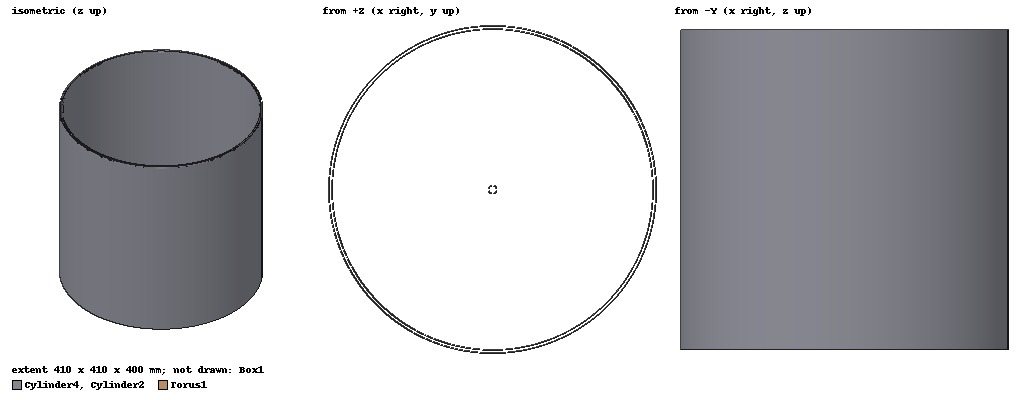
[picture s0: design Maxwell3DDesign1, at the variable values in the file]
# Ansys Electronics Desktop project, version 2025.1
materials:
  vacuum: permittivity=1
  ferrite: permittivity=12 permeability=1000 conductivity=0.01
  copper: permeability=0.999991 conductivity=58000000

design Maxwell3DDesign1 (Maxwell 3D, Magnetostatic, model units mm)
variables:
  t = 1mm
  a = 1mm
  b = 0mm
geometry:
  Cylinder1 = cylinder(axis=Z, base_centre=(0mm, 0mm, -200mm), radius=200mm, height=400mm)
  Cylinder2 [ferrite] = cylinder(axis=Z, base_centre=(0mm, 0mm, -200mm), radius=200mm+t, height=400mm)
  Cylinder2.subtract(Cylinder1)
  Cylinder3 = cylinder(axis=Z, base_centre=(0mm, 0mm, -200mm), radius=205mm-t, height=400mm)
  Cylinder4 [ferrite] = cylinder(axis=Z, base_centre=(0mm, 0mm, -200mm), radius=205mm, height=400mm)
  Cylinder4.subtract(Cylinder3)
  Torus1 [copper] = torus(axis=Z, centre=(0mm, 0mm, 0mm), major_radius=5mm, minor_radius=0.5mm)
  Torus1_Section1 [copper] = Torus1.section(plane=YZ)
  Torus1_Section1.separate_bodies()
  Box1 [vacuum] = box(corner=(-400mm, -400mm, -400mm), size=(800mm, 800mm, 800mm))
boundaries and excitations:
  Current2: Current Objects=Torus1_Section1 Current=1mA IsSolid=true Point_out_of_terminal=false
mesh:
  initial mesh: GlobalCurvilinear{Apply}
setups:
  Setup1: Magnetostatic MaximumPasses=100 MinimumPasses=2 MinimumConvergedPasses=1 PercentRefinement=30 PercentError=1 NonLinearResidual=0.001
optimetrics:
  ParametricSetup1: Parametric Sim._Setups=[Setup1]
    sweep t: LIN 0.5mm 1.5mm 0.1mm
    calculate IntH2_total on Setup1 : LastAdaptive
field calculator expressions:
  IntH2_cyl2 = Mag_H | Mag_H | * | EnterVolume(Cylinder2) | VolumeValue | Integrate
  IntH2_cyl4 = Mag_H | Mag_H | * | EnterVolume(Cylinder4) | VolumeValue | Integrate
  IntH2_total = IntH2_cyl2 | IntH2_cyl4 | +
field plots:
  Mag_H1: H in Cylinder2 on Setup1 : LastAdaptive
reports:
  Calculator Expressions Table1: IntH2_total vs t on Setup1 : LastAdaptive
  Calculator Expressions Plot2: IntH2_total vs t on Setup1 : LastAdaptive
